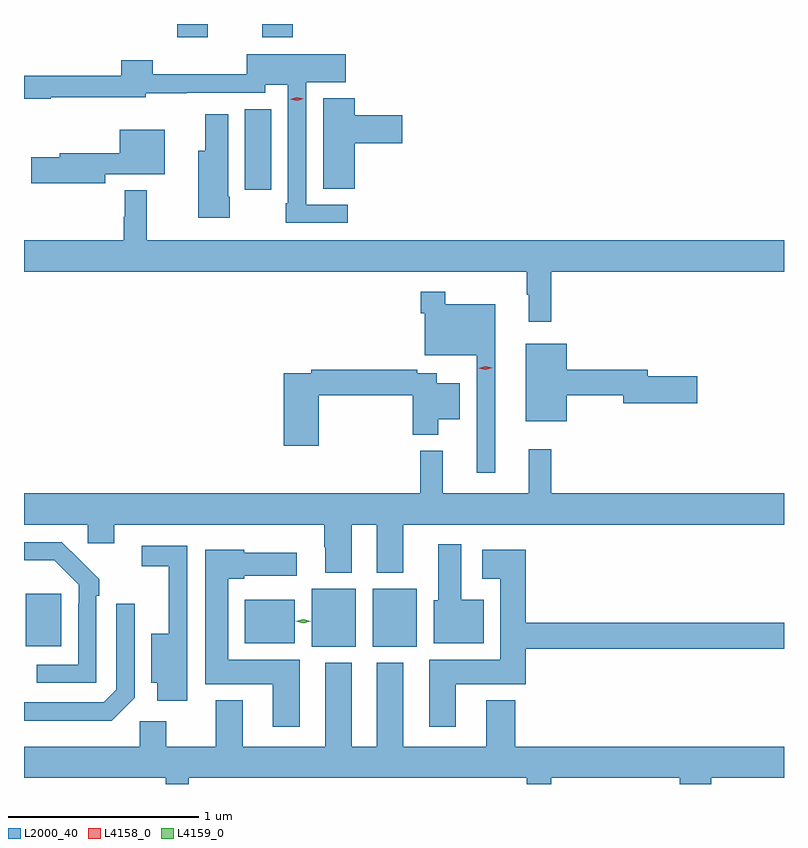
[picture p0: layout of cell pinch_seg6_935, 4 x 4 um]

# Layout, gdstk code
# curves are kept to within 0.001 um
import gdstk
lib = gdstk.Library(unit=1e-6, precision=1e-09)
def R(c, l, rs):  # rectangles x0, y0, x1, y1
    for r in rs: c.add(gdstk.rectangle(r[:2], r[2:], *l))
def P(c, l, *ps):  # polygons
    for p in ps: c.add(gdstk.Polygon(p, *l))
L2000_40 = (2000, 40)
L4158_0 = (4158, 0)
L4159_0 = (4159, 0)

pinch_seg6_935 = lib.new_cell('pinch_seg6_935')
R(pinch_seg6_935, L2000_40, [(291.131,946.694,291.364,946.999), (291.452,946.694,291.685,946.999), (289.625,946.697,289.813,946.972), (290.78,946.712,291.043,946.942), (290.78,949.098,290.917,949.523), (290.423,949.901,290.583,949.971), (290.872,949.901,291.032,949.971)])
P(pinch_seg6_935, L2000_40, [(291.322,949.02),(291.102,949.02),(291.102,949.664),(291.31,949.664),(291.31,949.813),(290.79,949.813),(290.79,949.706),(290.294,949.706),(290.294,949.78),(290.129,949.78),(290.129,949.699),(289.617,949.699),(289.617,949.578),(289.759,949.578),(289.759,949.585),(290.259,949.585),(290.259,949.607),(290.474,949.607),(290.474,949.608),(290.886,949.608),(290.886,949.652),(291.006,949.652),(291.006,949.027),(290.994,949.027),(290.994,948.924),(291.322,948.924)],
  [(291.358,949.343),(291.607,949.343),(291.607,949.49),(291.358,949.49),(291.358,949.579),(291.191,949.579),(291.191,949.105),(291.358,949.105)],
  [(290.7,949.063),(290.692,949.063),(290.692,949.495),(290.57,949.495),(290.57,949.303),(290.534,949.303),(290.534,948.951),(290.7,948.951)],
  [(290.044,949.181),(290.359,949.181),(290.359,949.414),(290.12,949.414),(290.12,949.291),(289.805,949.291),(289.805,949.269),(289.656,949.269),(289.656,949.132),(290.044,949.132)],
  [(292.391,948.668),(293.617,948.668),(293.617,948.832),(290.264,948.832),(290.264,949.096),(290.148,949.096),(290.148,948.956),(290.143,948.956),(290.143,948.832),(289.617,948.832),(289.617,948.668),(292.263,948.668),(292.263,948.545),(292.274,948.545),(292.274,948.405),(292.391,948.405)],
  [(292.096,948.496),(291.835,948.496),(291.835,948.562),(291.706,948.562),(291.706,948.449),(291.726,948.449),(291.726,948.227),(291.999,948.227),(291.999,947.61),(292.096,947.61)],
  [(292.474,948.016),(292.772,948.016),(292.772,947.974),(293.161,947.974),(293.161,948.116),(292.9,948.116),(292.9,948.152),(292.474,948.152),(292.474,948.289),(292.259,948.289),(292.259,947.879),(292.474,947.879)],
  [(291.167,948.016),(291.662,948.016),(291.662,947.81),(291.796,947.81),(291.796,947.891),(291.91,947.891),(291.91,948.079),(291.79,948.079),(291.79,948.132),(291.686,948.132),(291.686,948.152),(291.13,948.152),(291.13,948.132),(290.984,948.132),(290.984,947.751),(291.167,947.751)],
  [(289.617,947.336),(289.953,947.336),(289.953,947.238),(290.092,947.238),(290.092,947.336),(291.196,947.336),(291.196,947.216),(291.203,947.216),(291.203,947.084),(291.343,947.084),(291.343,947.336),(291.473,947.336),(291.473,947.084),(291.613,947.084),(291.613,947.336),(293.617,947.336),(293.617,947.5),(292.391,947.5),(292.391,947.734),(292.274,947.734),(292.274,947.5),(291.821,947.5),(291.821,947.725),(291.703,947.725),(291.703,947.5),(289.617,947.5)],
  [(289.998,946.961),(290.013,946.961),(290.013,947.049),(289.816,947.244),(289.617,947.244),(289.617,947.148),(289.777,947.148),(289.905,947.019),(289.905,946.919),(289.902,946.919),(289.902,946.599),(289.683,946.599),(289.683,946.503),(289.998,946.503)],
  [(292.036,946.942),(291.919,946.942),(291.919,947.233),(291.797,947.233),(291.797,946.938),(291.773,946.938),(291.773,946.712),(292.036,946.712)],
  [(290.476,946.658),(290.475,946.658),(290.475,947.226),(290.238,947.226),(290.238,947.118),(290.378,947.118),(290.378,946.762),(290.288,946.762),(290.288,946.505),(290.318,946.505),(290.318,946.41),(290.476,946.41)],
  [(291.067,946.624),(290.692,946.624),(290.692,947.051),(290.775,947.051),(290.775,947.066),(291.052,947.066),(291.052,947.188),(290.775,947.188),(290.775,947.203),(290.57,947.203),(290.57,946.496),(290.927,946.496),(290.927,946.272),(291.067,946.272)],
  [(291.889,946.496),(292.259,946.496),(292.259,946.684),(293.617,946.684),(293.617,946.82),(292.259,946.82),(292.259,947.203),(292.029,947.203),(292.029,947.051),(292.124,947.051),(292.124,946.624),(291.749,946.624),(291.749,946.272),(291.889,946.272)],
  [(290.199,946.425),(290.199,946.921),(290.103,946.921),(290.103,946.467),(290.037,946.401),(289.617,946.401),(289.617,946.304),(290.078,946.304)],
  [(290.485,946.004),(292.263,946.004),(292.263,945.971),(292.391,945.971),(292.391,946.004),(293.069,946.004),(293.069,945.971),(293.234,945.971),(293.234,946.004),(293.617,946.004),(293.617,946.168),(292.202,946.168),(292.202,946.411),(292.049,946.411),(292.049,946.168),(291.613,946.168),(291.613,946.609),(291.473,946.609),(291.473,946.168),(291.343,946.168),(291.343,946.609),(291.203,946.609),(291.203,946.168),(290.767,946.168),(290.767,946.411),(290.627,946.411),(290.627,946.168),(290.365,946.168),(290.365,946.3),(290.226,946.3),(290.226,946.168),(289.617,946.168),(289.617,946.004),(290.364,946.004),(290.364,945.971),(290.485,945.971)])
P(pinch_seg6_935, L4158_0, [(291.054,949.566),(291.019,949.575),(291.018,949.575),(291.019,949.575),(291.053,949.586),(291.088,949.578),(291.088,949.578),(291.088,949.577)],
  [(292.046,948.151),(292.01,948.16),(292.009,948.16),(292.01,948.16),(292.045,948.171),(292.081,948.163),(292.081,948.163),(292.081,948.162)])
P(pinch_seg6_935, L4159_0, [(291.086,946.818),(291.048,946.828),(291.047,946.828),(291.048,946.828),(291.087,946.838),(291.125,946.828),(291.126,946.828),(291.125,946.827)])

lib.write_gds('pinch_seg6_935.gds')
